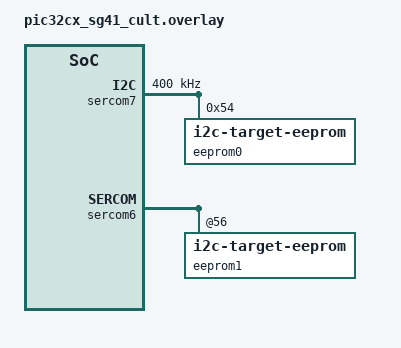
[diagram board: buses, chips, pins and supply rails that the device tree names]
/*
 * Copyright (c) 2026 Microchip Technology Inc.
 *
 * SPDX-License-Identifier: Apache-2.0
 */

/* Connect PD9 to PC12 (SDA), and PD8 to PC13 (SCL) */

&pinctrl {
	sercom7_i2c_default: sercom7_i2c_default {
		group1 {
			pinmux = <PC12C_SERCOM7_PAD0>,
				 <PC13C_SERCOM7_PAD1>;
		};
	};
};

&sercom7 {
	compatible = "microchip,sercom-g1-i2c";
	#address-cells = <1>;
	#size-cells = <0>;
	clock-frequency = <I2C_BITRATE_FAST>;
	pinctrl-0 = <&sercom7_i2c_default>;
	pinctrl-names = "default";
	status = "okay";

	eeprom0: eeprom@54 {
		compatible = "zephyr,i2c-target-eeprom";
		reg = <0x54>;
		size = <256>;
	};
};

&sercom6 {
	eeprom1: eeprom@56 {
		compatible = "zephyr,i2c-target-eeprom";
		reg = <0x56>;
		size = <256>;
	};
};
